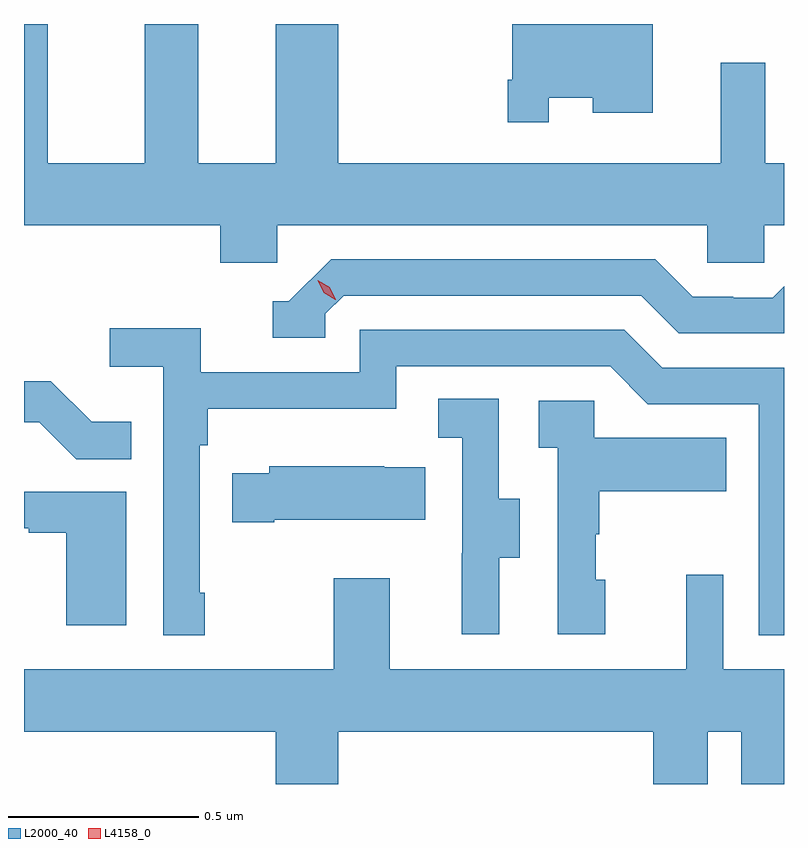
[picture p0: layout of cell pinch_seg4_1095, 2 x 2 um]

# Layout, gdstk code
import gdstk
lib = gdstk.Library(unit=1e-6, precision=1e-09)
def P(c, l, *ps):  # polygons
    for p in ps: c.add(gdstk.Polygon(p, *l))
L2000_40 = (2000, 40)
L4158_0 = (4158, 0)

pinch_seg4_1095 = lib.new_cell('pinch_seg4_1095')
P(pinch_seg4_1095, L2000_40, [(884.292,767.516),(885.423,767.516),(885.423,767.418),(885.573,767.418),(885.573,767.516),(885.625,767.516),(885.625,767.68),(885.575,767.68),(885.575,767.944),(885.458,767.944),(885.458,767.68),(884.452,767.68),(884.452,768.046),(884.288,768.046),(884.288,767.68),(884.083,767.68),(884.083,768.046),(883.943,768.046),(883.943,767.68),(883.687,767.68),(883.687,768.046),(883.625,768.046),(883.625,767.516),(884.141,767.516),(884.141,767.418),(884.292,767.418)],
  [(885.006,767.852),(885.122,767.852),(885.122,767.813),(885.28,767.813),(885.28,768.046),(884.91,768.046),(884.91,767.899),(884.898,767.899),(884.898,767.787),(885.006,767.787)],
  [(884.418,767.283),(884.466,767.331),(885.249,767.331),(885.348,767.232),(885.625,767.232),(885.625,767.356),(885.595,767.325),(885.492,767.325),(885.492,767.328),(885.385,767.328),(885.286,767.427),(884.433,767.427),(884.322,767.316),(884.279,767.316),(884.279,767.22),(884.418,767.22)],
  [(884.101,766.549),(884.088,766.549),(884.088,766.937),(884.108,766.937),(884.108,767.033),(884.604,767.033),(884.604,767.145),(885.168,767.145),(885.267,767.046),(885.558,767.046),(885.558,766.437),(885.625,766.437),(885.625,767.142),(885.304,767.142),(885.205,767.241),(884.508,767.241),(884.508,767.13),(884.09,767.13),(884.09,767.246),(883.851,767.246),(883.851,767.144),(883.992,767.144),(883.992,766.437),(884.101,766.437)],
  [(883.907,766.999),(883.803,766.999),(883.696,767.106),(883.625,767.106),(883.625,766.998),(883.665,766.998),(883.763,766.9),(883.907,766.9)],
  [(884.875,766.642),(884.929,766.642),(884.929,766.797),(884.874,766.797),(884.874,767.06),(884.715,767.06),(884.715,766.957),(884.778,766.957),(884.778,766.653),(884.777,766.653),(884.777,766.44),(884.875,766.44)],
  [(885.154,766.584),(885.129,766.584),(885.129,766.703),(885.139,766.703),(885.139,766.817),(885.473,766.817),(885.473,766.957),(885.126,766.957),(885.126,767.055),(884.979,767.055),(884.979,766.931),(885.03,766.931),(885.03,766.44),(885.154,766.44)],
  [(884.284,766.742),(884.681,766.742),(884.681,766.879),(884.573,766.879),(884.573,766.882),(884.271,766.882),(884.271,766.864),(884.173,766.864),(884.173,766.735),(884.284,766.735)],
  [(883.894,766.815),(883.625,766.815),(883.625,766.719),(883.637,766.719),(883.637,766.707),(883.736,766.707),(883.736,766.464),(883.894,766.464)],
  [(884.452,766.184),(885.281,766.184),(885.281,766.046),(885.424,766.046),(885.424,766.184),(885.512,766.184),(885.512,766.046),(885.625,766.046),(885.625,766.348),(885.465,766.348),(885.465,766.597),(885.368,766.597),(885.368,766.348),(884.587,766.348),(884.587,766.588),(884.44,766.588),(884.44,766.348),(883.625,766.348),(883.625,766.184),(884.288,766.184),(884.288,766.046),(884.452,766.046)])
P(pinch_seg4_1095, L4158_0, [(884.444,767.32),(884.414,767.339),(884.398,767.372),(884.398,767.372),(884.398,767.372),(884.429,767.353),(884.445,767.32),(884.445,767.32)])

lib.write_gds('pinch_seg4_1095.gds')
